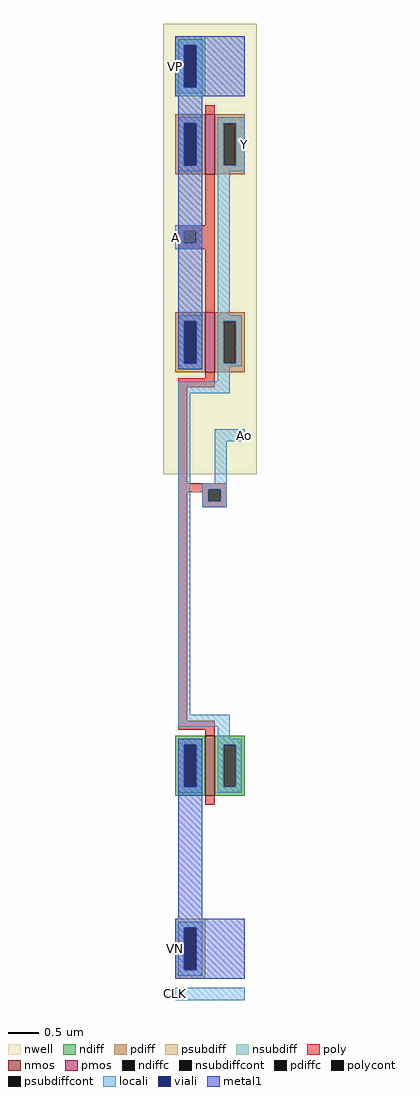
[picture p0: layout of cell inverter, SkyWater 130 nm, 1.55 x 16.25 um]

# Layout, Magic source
magic
tech sky130A
<< nwell >>
rect -70 705 85 1455
<< nmos >>
rect 0 170 15 270
<< pmos >>
rect 0 1205 15 1305
rect 0 875 15 975
<< ndiff >>
rect -50 255 0 270
rect -50 185 -35 255
rect -15 185 0 255
rect -50 170 0 185
rect 15 255 65 270
rect 15 185 30 255
rect 50 185 65 255
rect 15 170 65 185
<< pdiff >>
rect -50 1290 0 1305
rect -50 1220 -35 1290
rect -15 1220 0 1290
rect -50 1205 0 1220
rect 15 1290 65 1305
rect 15 1220 30 1290
rect 50 1220 65 1290
rect 15 1205 65 1220
rect -50 960 0 975
rect -50 890 -35 960
rect -15 890 0 960
rect -50 875 0 890
rect 15 960 65 975
rect 15 890 30 960
rect 50 890 65 960
rect 15 875 65 890
<< ndiffc >>
rect -35 185 -15 255
rect 30 185 50 255
<< pdiffc >>
rect -35 1220 -15 1290
rect 30 1220 50 1290
rect -35 890 -15 960
rect 30 890 50 960
<< psubdiff >>
rect -50 -50 0 -35
rect -50 -120 -35 -50
rect -15 -120 0 -50
rect -50 -135 0 -120
<< nsubdiff >>
rect -50 1420 0 1435
rect -50 1350 -35 1420
rect -15 1350 0 1420
rect -50 1335 0 1350
<< psubdiffcont >>
rect -35 -120 -15 -50
<< nsubdiffcont >>
rect -35 1350 -15 1420
<< poly >>
rect 0 1305 15 1320
rect 0 1120 15 1205
rect -45 1110 15 1120
rect -45 1090 -35 1110
rect -15 1090 15 1110
rect -45 1080 15 1090
rect 0 975 15 1080
rect 0 865 15 875
rect -45 850 15 865
rect -45 690 -30 850
rect -45 680 35 690
rect -45 675 5 680
rect -45 295 -30 675
rect -5 660 5 675
rect 25 660 35 680
rect -5 650 35 660
rect -45 280 15 295
rect 0 270 15 280
rect 0 155 15 170
<< polycont >>
rect -35 1090 -15 1110
rect 5 660 25 680
<< locali >>
rect -45 1420 -5 1430
rect -45 1350 -35 1420
rect -15 1350 -5 1420
rect -45 1340 -5 1350
rect -45 1290 -5 1300
rect -45 1220 -35 1290
rect -15 1220 -5 1290
rect -45 1210 -5 1220
rect 20 1290 65 1300
rect 20 1220 30 1290
rect 50 1220 65 1290
rect 20 1210 65 1220
rect -50 1110 -5 1120
rect -50 1090 -35 1110
rect -15 1090 -5 1110
rect -50 1080 -5 1090
rect 20 970 40 1210
rect -45 960 -5 970
rect -45 890 -35 960
rect -15 890 -5 960
rect -45 880 -5 890
rect 20 960 60 970
rect 20 890 30 960
rect 50 890 60 960
rect 20 885 60 890
rect 20 860 40 885
rect -45 840 40 860
rect -45 305 -25 840
rect 15 760 65 780
rect 15 690 35 760
rect -5 680 35 690
rect -5 660 5 680
rect 25 660 35 680
rect -5 650 35 660
rect -45 285 40 305
rect 20 265 40 285
rect -45 255 -5 265
rect -45 185 -35 255
rect -15 185 -5 255
rect -45 175 -5 185
rect 20 255 60 265
rect 20 185 30 255
rect 50 185 60 255
rect 20 175 60 185
rect -45 -50 -5 -40
rect -45 -120 -35 -50
rect -15 -120 -5 -50
rect -45 -130 -5 -120
rect -50 -170 65 -150
<< viali >>
rect -35 1350 -15 1420
rect -35 1220 -15 1290
rect -35 890 -15 960
rect -35 185 -15 255
rect -35 -120 -15 -50
<< metal1 >>
rect -50 1420 65 1435
rect -50 1350 -35 1420
rect -15 1350 65 1420
rect -50 1335 65 1350
rect -45 1290 -5 1335
rect -45 1220 -35 1290
rect -15 1220 -5 1290
rect -45 960 -5 1220
rect -45 890 -35 960
rect -15 890 -5 960
rect -45 880 -5 890
rect -45 255 -5 265
rect -45 185 -35 255
rect -15 185 -5 255
rect -45 -35 -5 185
rect -50 -50 65 -35
rect -50 -120 -35 -50
rect -15 -120 65 -50
rect -50 -135 65 -120
<< labels >>
rlabel metal1 -50 1385 -50 1385 7 VP
port 3 w
rlabel locali 65 1255 65 1255 3 Y
port 2 e
rlabel locali 65 770 65 770 3 Ao
port 6 e
rlabel locali -50 1100 -50 1100 7 A
port 1 w
rlabel metal1 -50 -85 -50 -85 7 VN
port 4 w
rlabel locali -50 -160 -50 -160 7 CLK
port 5 w
<< end >>
